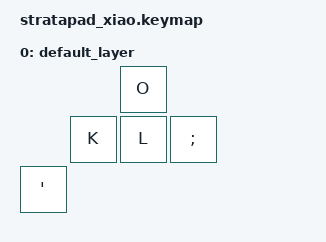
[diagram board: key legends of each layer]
#include <behaviors.dtsi>
#include <dt-bindings/zmk/keys.h>

/ {
    keymap {
        compatible = "zmk,keymap";

        default_layer {
            bindings = <
                                    &kp O
                            &kp K   &kp L    &kp SEMI
                &kp SQT
            >;
        };
    };
};
